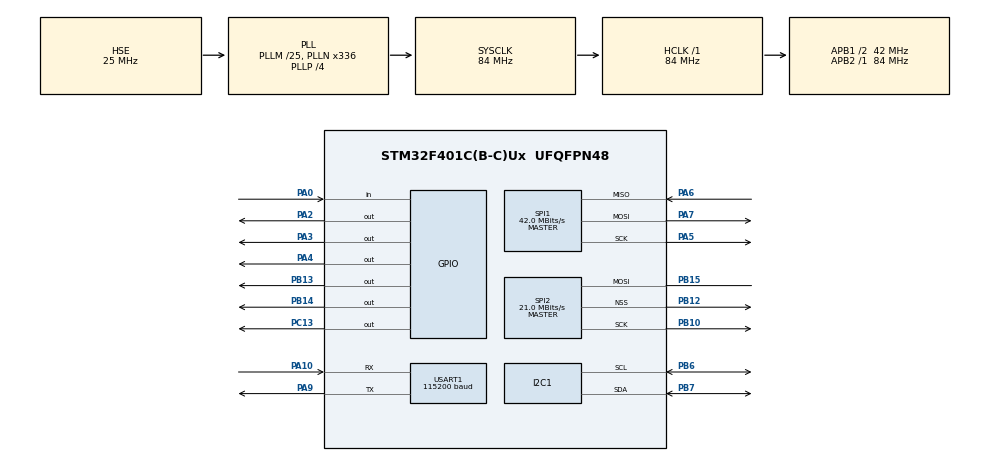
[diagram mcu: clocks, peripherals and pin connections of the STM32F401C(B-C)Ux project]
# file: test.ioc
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Mcu.Family=STM32F4
Mcu.Name=STM32F401C(B-C)Ux
Mcu.Package=UFQFPN48
NVIC.PriorityGroup=NVIC_PRIORITYGROUP_4
NVIC.USART1_IRQn=true\:1\:0\:true\:false\:true\:true\:true
PA0-WKUP.GPIO_Mode=GPIO_MODE_INPUT
PA0-WKUP.GPIO_PuPd=GPIO_NOPULL
PA0-WKUP.Signal=GPIO_Input
PA10.Mode=Asynchronous
PA10.Signal=USART1_RX
PA13.Mode=Serial_Wire
PA13.Signal=SYS_JTMS-SWDIO
PA14.Mode=Serial_Wire
PA14.Signal=SYS_JTCK-SWCLK
PA2.GPIO_ModeDefaultOutputPP=GPIO_MODE_OUTPUT_PP
PA2.GPIO_PuPd=GPIO_NOPULL
PA2.GPIO_Speed=GPIO_SPEED_FREQ_LOW
PA2.PinState=GPIO_PIN_RESET
PA2.Signal=GPIO_Output
PA3.GPIO_ModeDefaultOutputPP=GPIO_MODE_OUTPUT_PP
PA3.GPIO_PuPd=GPIO_NOPULL
PA3.GPIO_Speed=GPIO_SPEED_FREQ_LOW
PA3.PinState=GPIO_PIN_RESET
PA3.Signal=GPIO_Output
PA4.GPIO_ModeDefaultOutputPP=GPIO_MODE_OUTPUT_PP
PA4.GPIO_PuPd=GPIO_NOPULL
PA4.GPIO_Speed=GPIO_SPEED_FREQ_LOW
PA4.PinState=GPIO_PIN_RESET
PA4.Signal=GPIO_Output
PA5.Mode=Full_Duplex_Master
PA5.Signal=SPI1_SCK
PA6.Mode=Full_Duplex_Master
PA6.Signal=SPI1_MISO
PA7.Mode=Full_Duplex_Master
PA7.Signal=SPI1_MOSI
PA9.Mode=Asynchronous
PA9.Signal=USART1_TX
PB10.Mode=Simplex_Bidirectional_Master
PB10.Signal=SPI2_SCK
PB12.Mode=NSS_Signal_Hard_Output
PB12.Signal=SPI2_NSS
PB13.Signal=GPIO_Output
PB14.Signal=GPIO_Output
PB15.Mode=Simplex_Bidirectional_Master
PB15.Signal=SPI2_MOSI
PB6.Mode=I2C
PB6.Signal=I2C1_SCL
PB7.Mode=I2C
PB7.Signal=I2C1_SDA
PC13-ANTI_TAMP.GPIO_ModeDefaultOutputPP=GPIO_MODE_OUTPUT_PP
PC13-ANTI_TAMP.GPIO_PuPd=GPIO_NOPULL
PC13-ANTI_TAMP.GPIO_Speed=GPIO_SPEED_FREQ_LOW
PC13-ANTI_TAMP.PinState=GPIO_PIN_RESET
PC13-ANTI_TAMP.Signal=GPIO_Output
PH0\ -\ OSC_IN.Mode=HSE-External-Oscillator
PH0\ -\ OSC_IN.Signal=RCC_OSC_IN
PH1\ -\ OSC_OUT.Mode=HSE-External-Oscillator
PH1\ -\ OSC_OUT.Signal=RCC_OSC_OUT
ProjectManager.HeapSize=0x200
ProjectManager.StackSize=0x400
ProjectManager.TargetToolchain=STM32CubeIDE
RCC.48MHZClocksFreq_Value=48000000
RCC.AHBFreq_Value=84000000
RCC.APB1CLKDivider=RCC_HCLK_DIV2
RCC.APB1Freq_Value=42000000
RCC.APB1TimFreq_Value=84000000
RCC.APB2Freq_Value=84000000
RCC.APB2TimFreq_Value=84000000
RCC.CortexFreq_Value=84000000
RCC.EnbaleCSS=true
RCC.HCLKFreq_Value=84000000
RCC.HSE_VALUE=25000000
RCC.HSI_VALUE=16000000
RCC.LSE_VALUE=32768
RCC.PLLM=25
RCC.PLLN=336
RCC.PLLP=RCC_PLLP_DIV4
RCC.PLLQ=7
RCC.PLLSourceVirtual=RCC_PLLSOURCE_HSE
RCC.SYSCLKFreq_VALUE=84000000
RCC.SYSCLKSource=RCC_SYSCLKSOURCE_PLLCLK
RCC.VCOOutputFreq_Value=336000000
SPI1.BaudRatePrescaler=SPI_BAUDRATEPRESCALER_2
SPI1.CLKPhase=SPI_PHASE_1EDGE
SPI1.CalculateBaudRate=42.0 MBits/s
SPI1.DataSize=SPI_DATASIZE_8BIT
SPI1.Direction=SPI_DIRECTION_2LINES
SPI1.Mode=SPI_MODE_MASTER
SPI1.VirtualType=VM_MASTER
SPI2.BaudRatePrescaler=SPI_BAUDRATEPRESCALER_2
SPI2.CalculateBaudRate=21.0 MBits/s
SPI2.Direction=SPI_DIRECTION_1LINE
SPI2.Mode=SPI_MODE_MASTER
SPI2.VirtualNSS=VM_NSSHARD
SPI2.VirtualType=VM_MASTER
TIM3.ClockDivision=TIM_CLOCKDIVISION_DIV1
TIM3.CounterMode=TIM_COUNTERMODE_DOWN
TIM3.Period=1
TIM3.Prescaler=83
USART1.BaudRate=115200
USART1.Mode=MODE_TX_RX
USART1.OverSampling=UART_OVERSAMPLING_16
USART1.VirtualMode=VM_ASYNC
VP_TIM3_VS_ClockSourceINT.Mode=Internal
board=custom

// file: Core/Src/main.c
/* USER CODE BEGIN Header */
/**
 ******************************************************************************
 * @file           : main.c
 * @brief          : Main program body
 ******************************************************************************
 * @attention
 *
 * <h2><center>&copy; Copyright (c) 2019 STMicroelectronics.
 * All rights reserved.</center></h2>
 *
 * This software component is licensed by ST under BSD 3-Clause license,
 * the "License"; You may not use this file except in compliance with the
 * License. You may obtain a copy of the License at:
 *                        opensource.org/licenses/BSD-3-Clause
 *
 ******************************************************************************
 */
/* USER CODE END Header */

#include "main.h"
#include "i2c.h"
#include "spi.h"
#include "tim.h"
#include "usart.h"
#include "gpio.h"

/* USER CODE BEGIN Includes */
/*******引用*******/
#include "w25qxx.h"
#include "oled.h"
#include "bmp.h"
#include "math.h"
/* USER CODE END Includes */

/* USER CODE BEGIN PTD */
/*******typedef类型定义*******/

/* USER CODE END PTD */

/* USER CODE BEGIN PD */
/*******宏定义*******/

//****************************************
/* USER CODE END PD */

/* USER CODE BEGIN PM */
/*******宏处理*******/
/* USER CODE END PM */

/* USER CODE BEGIN PV */
/*******变量定义*******/

uint8_t Uart1_RxBuff[22] = { 0 };		//接收缓冲
uint8_t Uart1_Rx_Cnt = 0;		//接收缓冲计数

uint8_t ShowData[512] = { 0 };
uint16_t data[5] = { 0 };
/* USER CODE END PV */

void SystemClock_Config(void);
/* USER CODE BEGIN PFP */
/*******函数声明*******/

/* USER CODE END PFP */

int main(void) {
	/* USER CODE BEGIN 1 */

	//short read;
	uint8_t startIndex[] = "startlds$";
	uint16_t angle = 0;
	uint8_t x = 0;
	uint8_t y = 0;
	uint16_t distance1 = 0;
	uint16_t distance2 = 0;
	uint16_t distance3 = 0;
	uint16_t distance4 = 0;
	/* USER CODE END 1 */

	/* MCU Configuration--------------------------------------------------------*/

	/* Reset of all peripherals, Initializes the Flash interface and the Systick. */
	HAL_Init();

	/* Configure the system clock */
	SystemClock_Config();

	/* Initialize all configured peripherals */
	MX_GPIO_Init();
	MX_SPI1_Init();
	MX_TIM3_Init();
	MX_SPI2_Init();
	MX_USART1_UART_Init();
	MX_I2C1_Init();
	/* USER CODE BEGIN 2 */
	OLED_Init();
//	HAL_UART_Transmit(&huart1, data, 9, 100);
//	HAL_UART_Receive_IT(&huart1, buf, 22);
	HAL_Delay(1000);
	LL_USART_EnableIT_RXNE(USART1);
	LL_USART_EnableIT_PE(USART1);
	HAL_Delay(1000);
	for (int i = 0; i < 9; i++) {
		LL_USART_TransmitData8(USART1, startIndex[i]);
		HAL_Delay(10);
	}

	/* USER CODE END 2 */

	/* Infinite loop */
	/* USER CODE BEGIN WHILE */
	while (1) {
		while (1) {
			LL_GPIO_SetOutputPin(GPIOC, LL_GPIO_PIN_13);
			//OLED_DrawBMP(0, 0, 64, 8, BMP0);
			angle = data[0];
			distance1 = data[1] / 65536.0 * 32;
			x = 31 + cos(angle * 3.14 / 180.0) * distance1;
			y = 31 + sin(angle * 3.14 / 180.0) * distance1;
			ShowData[(y / 8) * 64 + x] |= (0x80 >> (y % 8));
			OLED_DrawBMP(0, 0, 64, 8, ShowData);
//			OLED_ShowNum(0, 1, angle);
//			OLED_ShowNum(0, 2, distance1);
//			OLED_ShowNum(0, 3, x);
//			OLED_ShowNum(0, 4, y);
			HAL_Delay(100);
		}
		/* USER CODE END WHILE */

	}
}

void SystemClock_Config(void) {
	RCC_OscInitTypeDef RCC_OscInitStruct = { 0 };
	RCC_ClkInitTypeDef RCC_ClkInitStruct = { 0 };

	/** Configure the main internal regulator output voltage
	 */
	__HAL_RCC_PWR_CLK_ENABLE();
	__HAL_PWR_VOLTAGESCALING_CONFIG(PWR_REGULATOR_VOLTAGE_SCALE2);
	/** Initializes the CPU, AHB and APB busses clocks
	 */
	RCC_OscInitStruct.OscillatorType = RCC_OSCILLATORTYPE_HSE;
	RCC_OscInitStruct.HSEState = RCC_HSE_ON;
	RCC_OscInitStruct.PLL.PLLState = RCC_PLL_ON;
	RCC_OscInitStruct.PLL.PLLSource = RCC_PLLSOURCE_HSE;
	RCC_OscInitStruct.PLL.PLLM = 25;
	RCC_OscInitStruct.PLL.PLLN = 336;
	RCC_OscInitStruct.PLL.PLLP = RCC_PLLP_DIV4;
	RCC_OscInitStruct.PLL.PLLQ = 7;
	if (HAL_RCC_OscConfig(&RCC_OscInitStruct) != HAL_OK) {
		Error_Handler();
	}
	/** Initializes the CPU, AHB and APB busses clocks
	 */
	RCC_ClkInitStruct.ClockType = RCC_CLOCKTYPE_HCLK | RCC_CLOCKTYPE_SYSCLK
			| RCC_CLOCKTYPE_PCLK1 | RCC_CLOCKTYPE_PCLK2;
	RCC_ClkInitStruct.SYSCLKSource = RCC_SYSCLKSOURCE_PLLCLK;
	RCC_ClkInitStruct.AHBCLKDivider = RCC_SYSCLK_DIV1;
	RCC_ClkInitStruct.APB1CLKDivider = RCC_HCLK_DIV2;
	RCC_ClkInitStruct.APB2CLKDivider = RCC_HCLK_DIV1;

	if (HAL_RCC_ClockConfig(&RCC_ClkInitStruct, FLASH_LATENCY_2) != HAL_OK) {
		Error_Handler();
	}
	/** Enables the Clock Security System
	 */
	HAL_RCC_EnableCSS();
}

/* USER CODE BEGIN 4 */

//void USART1_IRQHandler(void)
//{
//	uint8_t tmp;
//	if(LL_USART_IsActiveFlag_RXNE(USART1)) //检测是否接收中断
//	{
//		LL_GPIO_ResetOutputPin(GPIOA,LL_GPIO_PIN_5);
//		tmp=LL_USART_ReceiveData8(USART1);   //读取出来接收到的数据
//		LL_USART_TransmitData8(USART6,tmp);  //把数据再从串口发送出去
//	}
//
//}
void USART_RxIdleCallback(void) {
	if (LL_USART_IsActiveFlag_RXNE(USART1)) //检测是否接收中断
			{
		LL_GPIO_ResetOutputPin(GPIOC, LL_GPIO_PIN_13);
		Uart1_RxBuff[Uart1_Rx_Cnt++] = LL_USART_ReceiveData8(USART1); //读取出来接收到的数据
		if (Uart1_RxBuff[0] != 0xfa) {
			Uart1_Rx_Cnt = 0;
			return;
		}
		if ((Uart1_RxBuff[1] < 0xa0 || Uart1_RxBuff[1] > 0xF9)
				&& Uart1_Rx_Cnt > 1) {
			Uart1_Rx_Cnt = 0;
			return;
		}
		if (Uart1_Rx_Cnt < 22)  //溢出判断
				{
			return;
		} else {
			data[0] = (uint16_t) (Uart1_RxBuff[1] & 0x00ff) - 0x009f;
			data[1] = Uart1_RxBuff[5] + ((Uart1_RxBuff[6]& 0x3F) << 8);
			data[2] = Uart1_RxBuff[9] + ((Uart1_RxBuff[10]& 0x3F) << 8);
			data[3] = Uart1_RxBuff[13] + ((Uart1_RxBuff[14]& 0x3F) << 8);
			data[4] = Uart1_RxBuff[17] + ((Uart1_RxBuff[15]& 0x3F) << 8);
			Uart1_Rx_Cnt = 0;
		}

	}
}

/* USER CODE END 4 */

void Error_Handler(void) {
}

/************************ (C) COPYRIGHT STMicroelectronics *****END OF FILE****/
